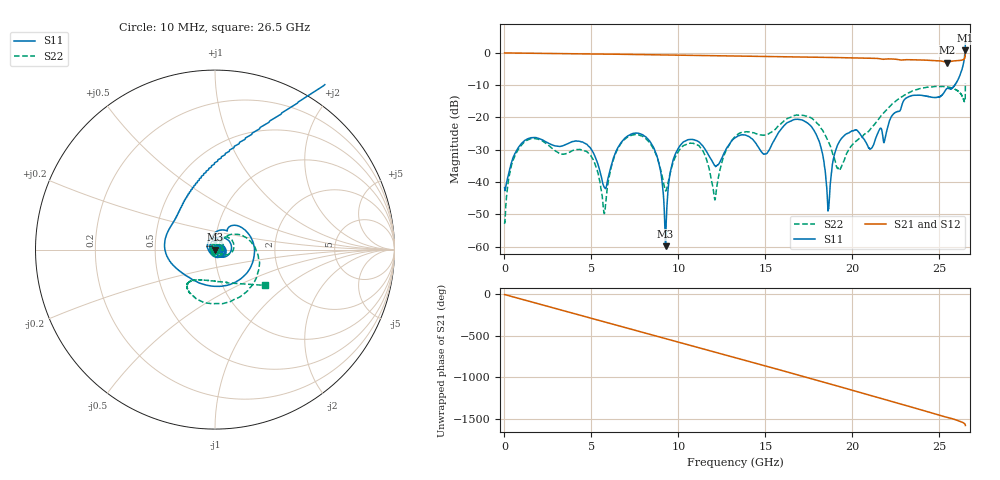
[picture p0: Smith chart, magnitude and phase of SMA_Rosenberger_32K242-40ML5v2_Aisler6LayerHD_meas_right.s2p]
# GHz S MA R 50
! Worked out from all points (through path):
!   2650 points, 10 MHz to 26.5 GHz, reference 50 ohm
!   highest |S21| = 0.77 dB at 26.5 GHz (marker M1); lowest = -3.0 dB at 25.44 GHz (marker M2)
!   group delay of S21, straight-line fit = 162 ps
!   lowest |S11| = -59.9 dB at 9.26 GHz (marker M3), VSWR 1.00, Z = 49.9 + j0.0318 ohm
!   |S11| at or under -10 dB: start of sweep to 25.89 GHz
!   |S22| runs from -52.9 to -9.4 dB; largest |S21 - S12| = 1.2e-15
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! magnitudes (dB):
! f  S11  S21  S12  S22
! 10 MHz  -41.7  0.0  0.0  -52.9
! 410 MHz  -33.8  0.0  0.0  -34.7
! 1.13 GHz  -27.3  -0.1  -0.1  -27.7
! 4.43 GHz  -27.6  -0.3  -0.3  -30.0
! 5.17 GHz  -31.6  -0.3  -0.3  -33.9
! 5.74 GHz  -41.6  -0.4  -0.4  -49.7
! 6.94 GHz  -26.3  -0.5  -0.5  -26.7
! 8.84 GHz  -33.4  -0.6  -0.6  -33.3
! 9.26 GHz  -59.9  -0.6  -0.6  -42.7
! 9.61 GHz  -35.1  -0.7  -0.7  -35.5
! 10.18 GHz  -28.2  -0.7  -0.7  -29.3
! 11.31 GHz  -28.3  -0.8  -0.8  -29.6
! 12.1 GHz  -35.0  -0.9  -0.9  -45.5
! 13.26 GHz  -26.3  -1.0  -1.0  -25.9
! 14.98 GHz  -31.3  -1.1  -1.1  -25.5
! 17.67 GHz  -23.0  -1.3  -1.3  -20.2
! 18.62 GHz  -48.7  -1.4  -1.4  -27.5
! 19.4 GHz  -26.4  -1.5  -1.5  -34.8
! 21.06 GHz  -29.7  -1.6  -1.6  -23.5
! 22.09 GHz  -21.8  -1.8  -1.8  -17.0
! 25.44 GHz  -11.0  -3.0  -3.0  -10.5
! 26.5 GHz  3.9  0.8  0.8  -9.4
